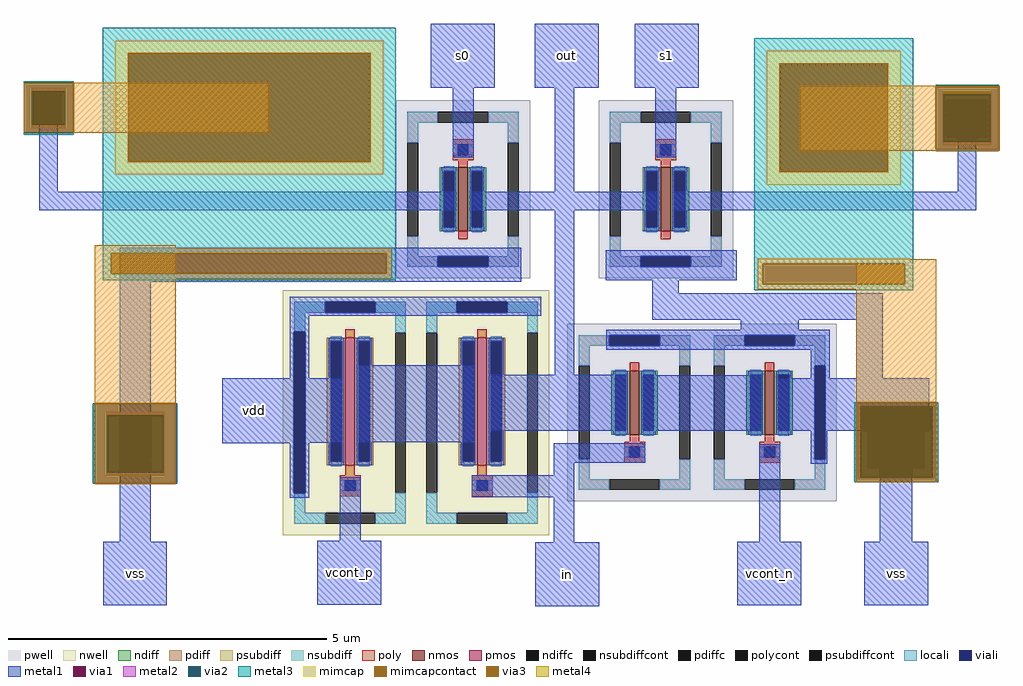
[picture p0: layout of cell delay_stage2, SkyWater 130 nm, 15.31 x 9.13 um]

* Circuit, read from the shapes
.subckt delay_stage2 vdd vcont_p s0 s1 out in vcont_n vss
XM1 out s0 n1 vss sky130_fd_pr__nfet_01v8 w=1 l=0.15
XM2 n2 in out vss sky130_fd_pr__nfet_01v8 w=1 l=0.15
XM3 n3 s1 out vss sky130_fd_pr__nfet_01v8 w=1 l=0.15
XM4 vss vcont_n n2 vss sky130_fd_pr__nfet_01v8 w=1 l=0.15
XM5 n4 vcont_p vdd vdd sky130_fd_pr__pfet_01v8 w=2 l=0.15
XM6 out in n4 vdd sky130_fd_pr__pfet_01v8 w=2 l=0.15
XC7 n1 vss sky130_fd_pr__cap_mim_m3_1 w=4.2 l=2.1
XC8 n3 vss sky130_fd_pr__cap_mim_m3_1 w=2.1 l=2.1
.ends

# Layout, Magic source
magic
tech sky130A
magscale 1 2
<< viali >>
rect 1508 -842 1666 -808
rect 2144 -842 2302 -808
rect 1154 -986 1312 -952
rect 1568 -986 1726 -952
rect 1056 -1552 1092 -1046
rect 2046 -1090 2204 -1056
rect 2470 -1090 2628 -1056
rect 2690 -1446 2724 -1152
<< metal1 >>
rect 1486 -280 1686 -80
rect 1812 -280 2012 -80
rect 2126 -280 2326 -80
rect 245 -303 327 -297
rect 245 -391 327 -385
rect 257 -606 315 -391
rect 1554 -492 1620 -280
rect 1874 -606 1936 -280
rect 2190 -492 2256 -280
rect 3103 -435 3109 -317
rect 3227 -435 3233 -317
rect 2216 -498 2256 -492
rect 3139 -606 3197 -435
rect 257 -664 1562 -606
rect 1608 -664 2200 -606
rect 2244 -664 3197 -606
rect 510 -808 1770 -782
rect 510 -842 1508 -808
rect 1666 -842 1770 -808
rect 510 -888 1770 -842
rect 510 -1348 607 -888
rect 1044 -952 1832 -936
rect 1044 -986 1154 -952
rect 1312 -986 1568 -952
rect 1726 -986 1832 -952
rect 1044 -996 1832 -986
rect 1044 -1046 1104 -996
rect 1044 -1192 1056 -1046
rect 832 -1396 1056 -1192
rect 510 -1704 607 -1445
rect 1044 -1552 1056 -1396
rect 1092 -1192 1104 -1046
rect 1092 -1394 1210 -1192
rect 1256 -1392 1624 -1150
rect 1874 -1180 1936 -664
rect 2034 -808 2446 -790
rect 2034 -842 2144 -808
rect 2302 -842 2446 -808
rect 2034 -884 2446 -842
rect 2180 -924 2264 -884
rect 2180 -1008 2904 -924
rect 2458 -1040 2640 -1008
rect 2036 -1056 2738 -1040
rect 2036 -1090 2046 -1056
rect 2204 -1090 2470 -1056
rect 2628 -1090 2738 -1056
rect 2036 -1102 2738 -1090
rect 2678 -1152 2738 -1102
rect 1674 -1356 2100 -1180
rect 2154 -1356 2522 -1182
rect 2678 -1192 2690 -1152
rect 2572 -1356 2690 -1192
rect 1092 -1552 1104 -1394
rect 1872 -1456 2158 -1396
rect 1872 -1496 1936 -1456
rect 1044 -1566 1104 -1552
rect 1200 -1702 1266 -1502
rect 1614 -1564 1936 -1496
rect 458 -1904 658 -1704
rect 1130 -1902 1330 -1702
rect 1872 -1706 1936 -1564
rect 2516 -1704 2582 -1398
rect 2678 -1446 2690 -1356
rect 2724 -1192 2738 -1152
rect 2820 -1192 2904 -1008
rect 2724 -1310 3050 -1192
rect 2724 -1356 2865 -1310
rect 2724 -1446 2730 -1356
rect 2678 -1460 2730 -1446
rect 2859 -1473 2865 -1356
rect 3028 -1356 3050 -1310
rect 3028 -1473 3034 -1356
rect 2895 -1704 2997 -1473
rect 1814 -1906 2014 -1706
rect 2448 -1904 2648 -1704
rect 2846 -1904 3046 -1704
<< via1 >>
rect 245 -385 327 -303
rect 3109 -435 3227 -317
rect 510 -1445 607 -1348
rect 2865 -1473 3028 -1310
<< metal2 >>
rect 234 -291 339 -282
rect 234 -405 339 -396
rect 3094 -301 3243 -292
rect 3094 -459 3243 -450
rect 469 -1307 648 -1298
rect 469 -1495 648 -1486
rect 2825 -1504 2834 -1279
rect 3059 -1504 3068 -1279
<< via2 >>
rect 234 -303 339 -291
rect 234 -385 245 -303
rect 245 -385 327 -303
rect 327 -385 339 -303
rect 234 -396 339 -385
rect 3094 -317 3243 -301
rect 3094 -435 3109 -317
rect 3109 -435 3227 -317
rect 3227 -435 3243 -317
rect 3094 -450 3243 -435
rect 469 -1348 648 -1307
rect 469 -1445 510 -1348
rect 510 -1445 607 -1348
rect 607 -1445 648 -1348
rect 469 -1486 648 -1445
rect 2834 -1310 3059 -1279
rect 2834 -1473 2865 -1310
rect 2865 -1473 3028 -1310
rect 3028 -1473 3059 -1310
rect 2834 -1504 3059 -1473
<< metal3 >>
rect 209 -265 365 -259
rect 209 -427 365 -421
rect 3070 -277 3267 -271
rect 3070 -480 3267 -474
rect 426 -1523 432 -1270
rect 685 -1523 691 -1270
rect 2815 -1517 2821 -1266
rect 3072 -1517 3078 -1266
<< via3 >>
rect 209 -291 365 -265
rect 209 -396 234 -291
rect 234 -396 339 -291
rect 339 -396 365 -291
rect 209 -421 365 -396
rect 3070 -301 3267 -277
rect 3070 -450 3094 -301
rect 3094 -450 3243 -301
rect 3243 -450 3267 -301
rect 3070 -474 3267 -450
rect 432 -1307 685 -1270
rect 432 -1486 469 -1307
rect 469 -1486 648 -1307
rect 648 -1486 685 -1307
rect 432 -1523 685 -1486
rect 2821 -1279 3072 -1266
rect 2821 -1504 2834 -1279
rect 2834 -1504 3059 -1279
rect 3059 -1504 3072 -1279
rect 2821 -1517 3072 -1504
<< metal4 >>
rect 208 -265 366 -264
rect 208 -421 209 -265
rect 365 -421 978 -265
rect 2644 -277 3270 -274
rect 208 -422 366 -421
rect 2644 -474 3070 -277
rect 3267 -474 3270 -277
rect 2644 -478 3270 -474
rect 432 -1269 685 -774
rect 2821 -1265 3072 -818
rect 2820 -1266 3073 -1265
rect 431 -1270 686 -1269
rect 431 -1523 432 -1270
rect 685 -1523 686 -1270
rect 2820 -1517 2821 -1266
rect 3072 -1517 3073 -1266
rect 2820 -1518 3073 -1517
rect 431 -1524 686 -1523
use sky130_fd_pr__nfet_01v8_64QSBY  sky130_fd_pr__nfet_01v8_64QSBY_0
transform 1 0 2125 0 1 -1299
box -211 -279 211 279
use sky130_fd_pr__nfet_01v8_64Z3AY  sky130_fd_pr__nfet_01v8_64Z3AY_0
transform 1 0 2223 0 1 -599
box -211 -279 211 279
use sky130_fd_pr__nfet_01v8_64Z3AY  sky130_fd_pr__nfet_01v8_64Z3AY_1
transform 1 0 1587 0 1 -599
box -211 -279 211 279
use sky130_fd_pr__pfet_01v8_LGAKDL  sky130_fd_pr__pfet_01v8_LGAKDL_0
transform 1 0 1647 0 1 -1300
box -211 -384 211 384
use sky130_fd_pr__cap_mim_m3_1_B4ULDW  XC1
transform 0 1 916 -1 0 -488
box -396 -460 396 460
use sky130_fd_pr__cap_mim_m3_1_BEWQ6U  XC2
transform 0 1 2750 -1 0 -520
box -396 -250 396 250
use sky130_fd_pr__pfet_01v8_LGAKDL  XM1
transform 1 0 1233 0 1 -1300
box -211 -384 211 384
use sky130_fd_pr__nfet_01v8_64QSBY  XM5
transform 1 0 2549 0 1 -1299
box -211 -279 211 279
<< labels >>
flabel metal1 2126 -280 2326 -80 0 FreeSans 256 0 0 0 s1
port 3 nsew
flabel metal1 1486 -280 1686 -80 0 FreeSans 256 0 0 0 s0
port 2 nsew
flabel metal1 1812 -280 2012 -80 0 FreeSans 256 0 0 0 out
port 4 nsew
flabel metal1 2448 -1904 2648 -1704 0 FreeSans 256 0 0 0 vcont_n
port 6 nsew
flabel metal1 1130 -1902 1330 -1702 0 FreeSans 256 0 0 0 vcont_p
port 1 nsew
flabel metal1 1814 -1906 2014 -1706 0 FreeSans 256 0 0 0 in
port 5 nsew
flabel metal1 832 -1392 1032 -1192 0 FreeSans 256 0 0 0 vdd
port 0 nsew
flabel metal1 458 -1904 658 -1704 0 FreeSans 256 0 0 0 vss
port 7 nsew
flabel metal1 2846 -1904 3046 -1704 0 FreeSans 256 0 0 0 vss
port 7 nsew
<< end >>

# cell sky130_fd_pr__nfet_01v8_64QSBY: kit device sky130_fd_pr__nfet_01v8, w 1.0 l 0.15 m 1 nf 1 diffcov 100 polycov 100 guard 1 glc 1 grc 1 gtc 1 gbc 1 tbcov 100 rlcov 100 topc 0 botc 1 poverlap 0 doverlap 1 lmin 0.15 wmin 0.42 compatible {sky130_fd_pr__nfet_01v8 sky130_fd_pr__nfet_01v8_lvt sky130_fd_bs_flash__special_sonosfet_star sky130_fd_pr__nfet_g5v0d10v5 sky130_fd_pr__nfet_05v0_nvt sky130_fd_pr__nfet_03v3_nvt} full_metal 1 viasrc 100 viadrn 100 viagate 100 viagb 0 viagr 0 viagl 0 viagt 0

# cell sky130_fd_pr__nfet_01v8_64Z3AY: kit device sky130_fd_pr__nfet_01v8, w 1.0 l 0.15 m 1 nf 1 diffcov 100 polycov 100 guard 1 glc 1 grc 1 gtc 1 gbc 1 tbcov 100 rlcov 100 topc 1 botc 0 poverlap 0 doverlap 1 lmin 0.15 wmin 0.42 compatible {sky130_fd_pr__nfet_01v8 sky130_fd_pr__nfet_01v8_lvt sky130_fd_bs_flash__special_sonosfet_star sky130_fd_pr__nfet_g5v0d10v5 sky130_fd_pr__nfet_05v0_nvt sky130_fd_pr__nfet_03v3_nvt} full_metal 1 viasrc 100 viadrn 100 viagate 100 viagb 0 viagr 0 viagl 0 viagt 0

# cell sky130_fd_pr__pfet_01v8_LGAKDL: kit device sky130_fd_pr__pfet_01v8, w 2.0 l 0.15 m 1 nf 1 diffcov 100 polycov 100 guard 1 glc 1 grc 1 gtc 1 gbc 1 tbcov 100 rlcov 100 topc 0 botc 1 poverlap 0 doverlap 1 lmin 0.15 wmin 0.42 compatible {sky130_fd_pr__pfet_01v8 sky130_fd_pr__pfet_01v8_lvt sky130_fd_pr__pfet_01v8_hvt sky130_fd_pr__pfet_g5v0d10v5} full_metal 1 viasrc 100 viadrn 100 viagate 100 viagb 0 viagr 0 viagl 0 viagt 0

# cell sky130_fd_pr__cap_mim_m3_1_B4ULDW: kit device sky130_fd_pr__cap_mim_m3_1, w 2.1 l 4.2 val 20.034 carea 2.00 cperi 0.19 nx 1 ny 1 dummy 0 square 0 lmin 2.00 wmin 2.00 lmax 30.0 wmax 30.0 dc 0 bconnect 1 tconnect 1 ccov 100

# cell sky130_fd_pr__cap_mim_m3_1_BEWQ6U: kit device sky130_fd_pr__cap_mim_m3_1, w 2.1 l 2.1 val 10.416 carea 2.00 cperi 0.19 nx 1 ny 1 dummy 0 square 0 lmin 2.00 wmin 2.00 lmax 30.0 wmax 30.0 dc 0 bconnect 1 tconnect 1 ccov 100
